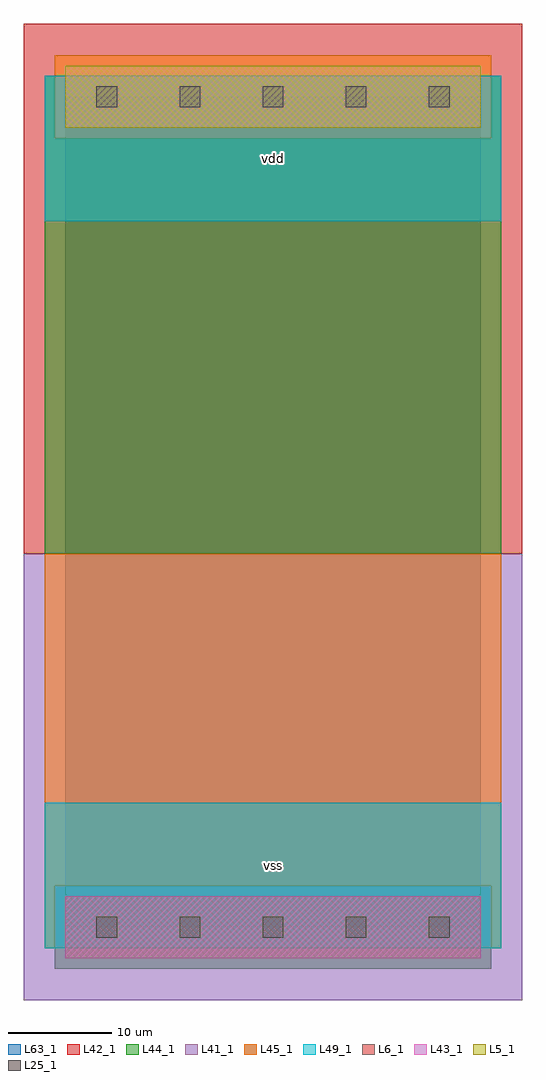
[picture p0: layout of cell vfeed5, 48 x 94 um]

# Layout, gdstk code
import gdstk
lib = gdstk.Library(unit=1e-6, precision=1e-09)
def R(c, l, rs):  # rectangles x0, y0, x1, y1
    for r in rs: c.add(gdstk.rectangle(r[:2], r[2:], *l))
def A(c, l, x, y, w, h, nx, ny, dx, dy):  # array of equal rectangles
    R(c, l, [(x+i*dx, y+j*dy, x+i*dx+w, y+j*dy+h) for i in range(nx) for j in range(ny)])
L5_1 = (5, 1)
L6_1 = (6, 1)
L25_1 = (25, 1)
L41_1 = (41, 1)
L42_1 = (42, 1)
L43_1 = (43, 1)
L44_1 = (44, 1)
L45_1 = (45, 1)
L49_1 = (49, 1)
L63_1 = (63, 1)

vfeed5 = lib.new_cell('vfeed5')
R(vfeed5, L5_1, [(0,77,40,83)])
R(vfeed5, L6_1, [(0,-3,40,3), (0,-3,40,3)])
A(vfeed5, L25_1, 3, -1, 2, 2, 5, 2, 8, 80)
R(vfeed5, L41_1, [(-4,-7,44,36)])
R(vfeed5, L42_1, [(-4,36,44,87)])
R(vfeed5, L43_1, [(0,-3,40,3), (0,77,40,83)])
R(vfeed5, L44_1, [(-1,-4,41,4), (-2,36,42,76), (-2,76,-1,82), (41,76,42,82)])
R(vfeed5, L45_1, [(-2,-2,-1,4), (41,-2,42,4), (-2,4,42,36), (-1,76,41,84)])
R(vfeed5, L49_1, [(-2,-2,42,12), (-2,68,42,82)])
R(vfeed5, L63_1, [(0,0,40,80)])
vfeed5.add(gdstk.Label('vss', (20,6), layer=49, texttype=1))
vfeed5.add(gdstk.Label('vdd', (20,74), layer=49, texttype=1))

lib.write_gds('vfeed5.gds')
